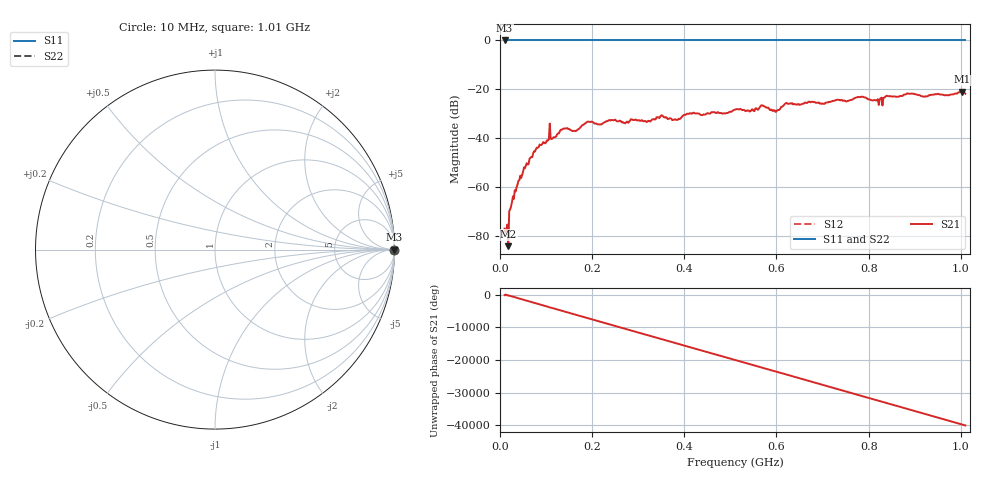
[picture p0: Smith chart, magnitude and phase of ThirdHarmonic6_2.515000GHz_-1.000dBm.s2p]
! 8/17/2025 4:55:00 AM
! C:\ANRITSUVNA\TEMP\TEMP.S2P
! CHANNEL.1
! TR.MEASUREMENT
! RAW.DATA
! RF.CORRECTION.OFF
! AVERAGING.OFF
! IF.BANDWIDTH: 5KHZ
! SWEEPTYPE:  FREQ.SWEEP(Linear)
! Reference Plane Port Info
! PORT:  PORT1  PORT2
! DISTANCE:  0  m  0  m
! TIME:  0  s  0  s
! PHASE.OFFSET:  0  deg.  0  deg.
! LOSS:  0  dB  0  dB
! REF.LOSS:  0  dB  0  dB
! REF.FREQ:  0  Hz  0  Hz
! Power Info
! POWER:  -20  dBm  -20  dBm
! EFF.POWER:  -20  dBm  -20  dBm
! SOURCE.ATTEN:  0  dB  0  dB
! TEST.ATTEN:  0  dB  0  dB
# GHZ S RI R 50.0
! FREQ.GHZ  S11RE  S11IM  S21RE  S21IM  S12RE  S12IM  S22RE  S22IM
!; PortSelection: Port_12
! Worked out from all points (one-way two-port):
!   501 points, 10 MHz to 1.01 GHz, reference 50 ohm
!   highest |S21| = -20.97 dB at 1.002 GHz (marker M1); lowest = -84.3 dB at 18 MHz (marker M2)
!   lowest |S11| = 0.0 dB at 10 MHz (marker M3)
!   |S11| at or under -10 dB: nowhere
!   |S22| runs from 0.0 to 0.0 dB; largest |S21 - S12| = 1.1
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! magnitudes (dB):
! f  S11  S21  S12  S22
! 10 MHz  0.0  -77.0  0.0  0.0
! 14 MHz  0.0  -78.1  0.0  0.0
! 18 MHz  0.0  -84.3  0.0  0.0
! 24 MHz  0.0  -68.1  0.0  0.0
! 40 MHz  0.0  -57.5  0.0  0.0
! 76 MHz  0.0  -45.5  0.0  0.0
! 136 MHz  0.0  -36.4  0.0  0.0
! 162 MHz  0.0  -37.0  0.0  0.0
! 178 MHz  0.0  -34.8  0.0  0.0
! 344 MHz  0.0  -31.6  0.0  0.0
! 382 MHz  0.0  -32.5  0.0  0.0
! 410 MHz  0.0  -30.1  0.0  0.0
! 510 MHz  0.0  -28.3  0.0  0.0
! 570 MHz  0.0  -26.7  0.0  0.0
! 596 MHz  0.0  -28.7  0.0  0.0
! 622 MHz  0.0  -25.6  0.0  0.0
! 678 MHz  0.0  -25.1  0.0  0.0
! 784 MHz  0.0  -23.0  0.0  0.0
! 826 MHz  0.0  -23.8  0.0  0.0
! 844 MHz  0.0  -22.8  0.0  0.0
! 1.002 GHz  0.0  -21.0  0.0  0.0
! 1.01 GHz  0.0  -21.8  0.0  0.0
